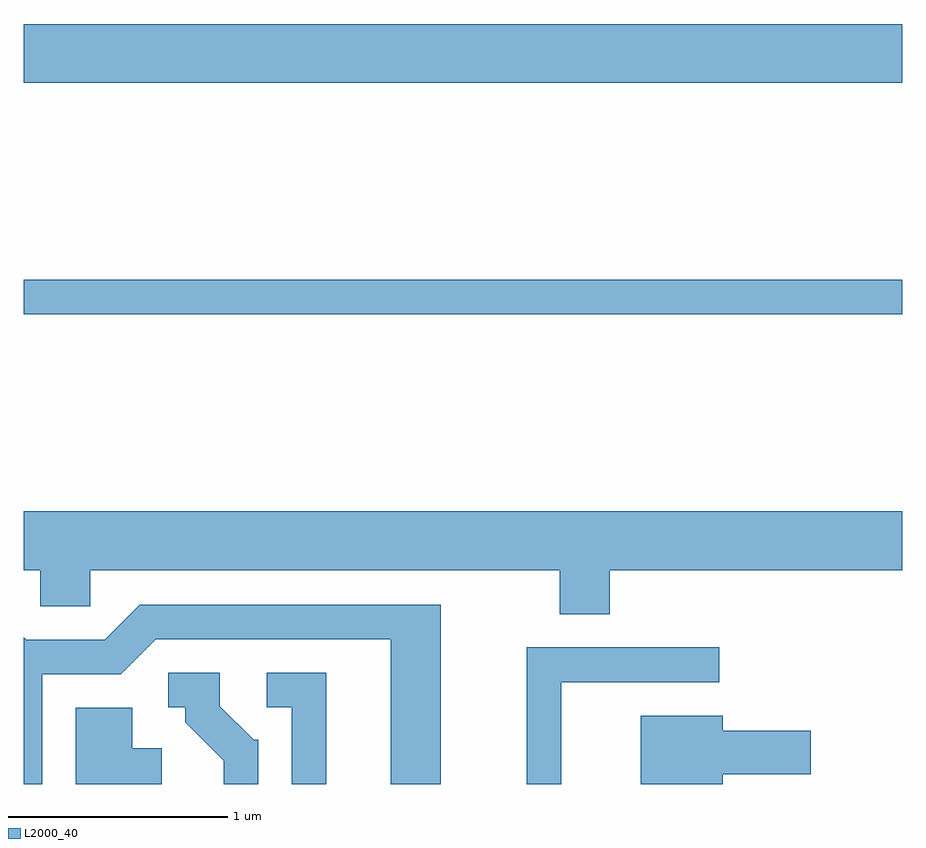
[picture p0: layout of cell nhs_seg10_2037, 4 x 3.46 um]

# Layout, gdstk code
import gdstk
lib = gdstk.Library(unit=1e-6, precision=1e-09)
def R(c, l, rs):  # rectangles x0, y0, x1, y1
    for r in rs: c.add(gdstk.rectangle(r[:2], r[2:], *l))
def P(c, l, *ps):  # polygons
    for p in ps: c.add(gdstk.Polygon(p, *l))
L2000_40 = (2000, 40)

nhs_seg10_2037 = lib.new_cell('nhs_seg10_2037')
R(nhs_seg10_2037, L2000_40, [(245.611,2090.661,249.611,2090.819), (245.611,2091.716,249.611,2091.984)])
P(nhs_seg10_2037, L2000_40, [(245.611,2089.496),(245.686,2089.496),(245.686,2089.331),(245.914,2089.331),(245.914,2089.496),(248.051,2089.496),(248.051,2089.296),(248.279,2089.296),(248.279,2089.496),(249.611,2089.496),(249.611,2089.764),(245.611,2089.764)],
  [(245.694,2089.021),(246.052,2089.021),(246.212,2089.181),(247.281,2089.181),(247.281,2088.522),(247.509,2088.522),(247.509,2089.339),(246.139,2089.339),(245.979,2089.179),(245.622,2089.179),(245.611,2089.19),(245.611,2088.522),(245.694,2088.522)],
  [(248.059,2088.986),(248.778,2088.986),(248.778,2089.144),(247.901,2089.144),(247.901,2088.522),(248.059,2088.522)],
  [(246.989,2089.029),(246.718,2089.029),(246.718,2088.871),(246.831,2088.871),(246.831,2088.522),(246.989,2088.522)],
  [(246.679,2088.724),(246.657,2088.724),(246.504,2088.876),(246.504,2089.029),(246.268,2089.029),(246.268,2088.871),(246.346,2088.871),(246.346,2088.804),(246.521,2088.629),(246.521,2088.522),(246.679,2088.522)],
  [(246.239,2088.684),(246.104,2088.684),(246.104,2088.869),(245.846,2088.869),(245.846,2088.522),(246.239,2088.522)],
  [(248.794,2088.566),(249.194,2088.566),(249.194,2088.764),(248.794,2088.764),(248.794,2088.834),(248.421,2088.834),(248.421,2088.522),(248.794,2088.522)])

lib.write_gds('nhs_seg10_2037.gds')
